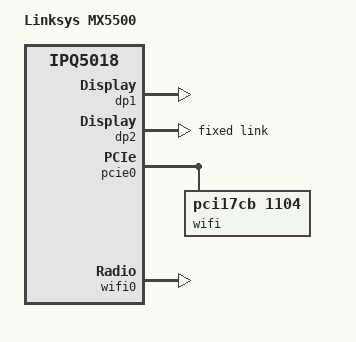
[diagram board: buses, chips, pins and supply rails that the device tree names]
// SPDX-License-Identifier: GPL-2.0-or-later OR MIT

/dts-v1/;

#include "ipq5018-mx-base.dtsi"

/ {
	model = "Linksys MX5500";
	compatible = "linksys,mx5500", "qcom,ipq5018";
};

&dp1 {
	status = "okay";
};

&dp2 {
	status = "okay";

	nvmem-cells = <&hw_mac_addr 0>;
	nvmem-cell-names = "mac-address";

	fixed-link {
		speed = <1000>;
		full-duplex;
	};
};

&switch1 {
	ports {
		port@2 {
			label = "wan";
		};

		port@3 {
			label = "lan3";
		};

		port@4 {
			label = "lan2";
		};

		port@5 {
			label = "lan1";
		};

		port@6 {
			reg = <6>;
			label = "cpu";
			phy-mode = "sgmii";
			ethernet = <&dp2>;
			qca,sgmii-enable-pll;

			fixed-link {
				speed = <1000>;
				full-duplex;
			};
		};
	};
};

&pcie0 {
	status = "okay";
	perst-gpios = <&tlmm 15 GPIO_ACTIVE_LOW>;

	pcie@0 {
		wifi@0,0 {
			status = "okay";
			compatible = "pci17cb,1104";
			qcom,ath11k-fw-memory-mode = <1>;
			qcom,ath11k-calibration-variant = "Linksys-MX5500";
			reg = <0x00010000 0 0 0 0>;
		};
	};
};

&wifi0 {
	// IPQ5018
	status = "okay";
	qcom,ath11k-calibration-variant = "Linksys-MX5500";
};
